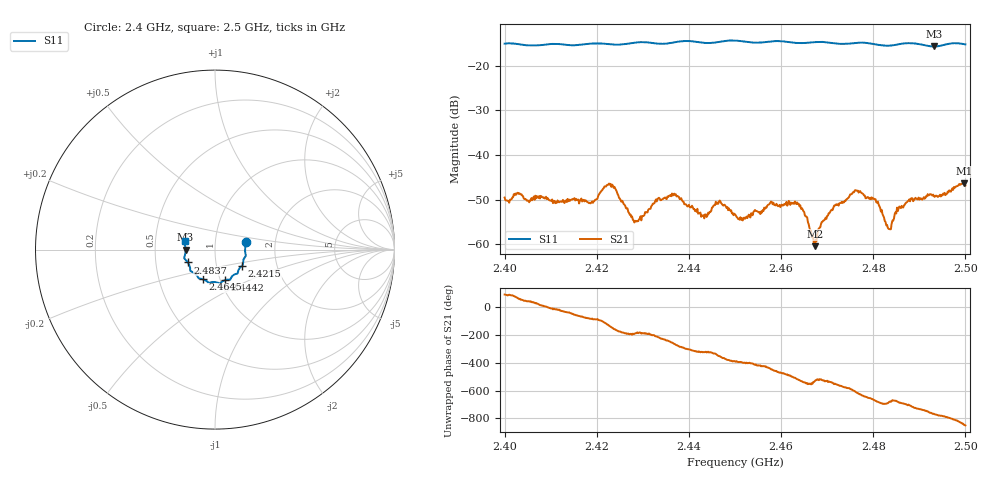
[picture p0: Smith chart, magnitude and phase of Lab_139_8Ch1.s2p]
# Hz S RI R 50
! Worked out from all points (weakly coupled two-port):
!   601 points, 2.4 GHz to 2.5 GHz, reference 50 ohm
!   highest |S21| = -46.35 dB at 2.4997 GHz (marker M1); lowest = -60.4 dB at 2.4673 GHz (marker M2)
!   lowest |S11| = -15.7 dB at 2.4932 GHz (marker M3), VSWR 1.39, Z = 35.9 - j0.0662 ohm
!   |S11| at or under -10 dB: start of sweep to end of sweep
!   S12 and S22 are empty: the file has one direction only
!   S11 on the Smith chart (normalised r, x): 2.4 GHz: 1.41, +0.12; 2.4215 GHz: 1.33, -0.25; 2.4442 GHz: 1.05, -0.37; 2.4645 GHz: 0.83, -0.29; 2.4837 GHz: 0.73, -0.11; 2.5 GHz: 0.71, +0.07
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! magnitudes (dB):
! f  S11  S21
! 2.4 GHz  -15.1  -49.5
! 2.4167 GHz  -15.3  -49.8
! 2.4215 GHz  -15.1  -47.4
! 2.4238 GHz  -15.3  -47.1
! 2.4285 GHz  -14.8  -54.8
! 2.4333 GHz  -15.1  -49.7
! 2.4368 GHz  -14.8  -48.7
! 2.4442 GHz  -15.0  -52.9
! 2.4463 GHz  -14.7  -50.9
! 2.45 GHz  -14.4  -53.3
! 2.4645 GHz  -15.0  -51.9
! 2.4667 GHz  -14.8  -58.4
! 2.4673 GHz  -14.7  -60.4
! 2.4713 GHz  -15.0  -51.9
! 2.4762 GHz  -15.0  -47.9
! 2.4805 GHz  -15.3  -49.9
! 2.4833 GHz  -15.5  -56.5
! 2.4837 GHz  -15.5  -56.6
! 2.4878 GHz  -15.0  -49.9
! 2.4932 GHz  -15.7  -49.2
! 2.4997 GHz  -15.2  -46.4
! 2.5 GHz  -15.3  -46.8
